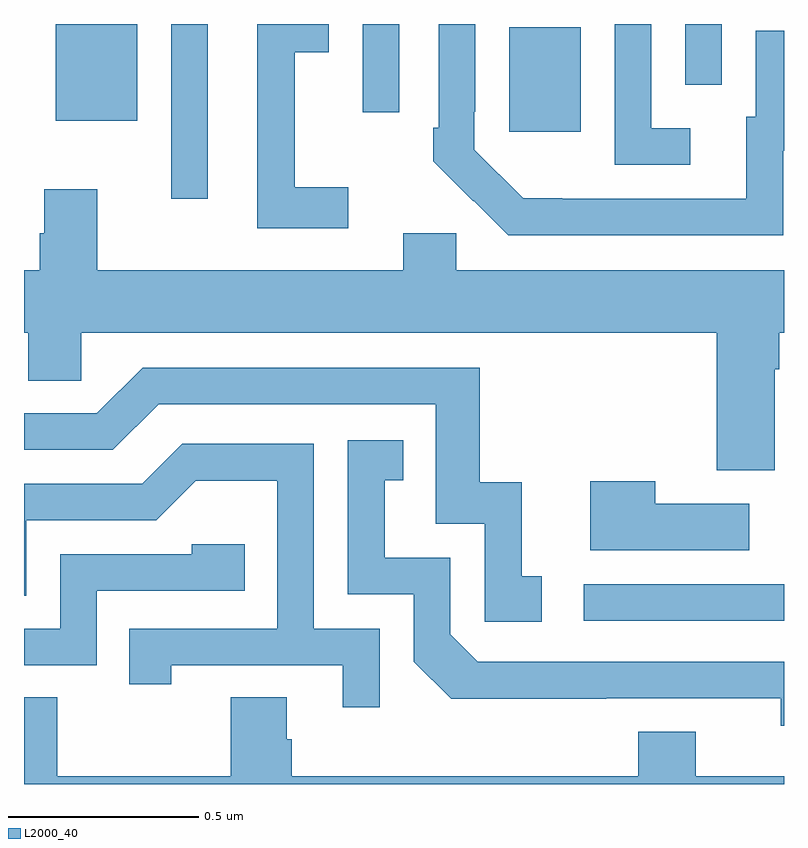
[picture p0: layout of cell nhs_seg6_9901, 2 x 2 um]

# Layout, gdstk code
import gdstk
lib = gdstk.Library(unit=1e-6, precision=1e-09)
def R(c, l, rs):  # rectangles x0, y0, x1, y1
    for r in rs: c.add(gdstk.rectangle(r[:2], r[2:], *l))
def P(c, l, *ps):  # polygons
    for p in ps: c.add(gdstk.Polygon(p, *l))
L2000_40 = (2000, 40)

nhs_seg6_9901 = lib.new_cell('nhs_seg6_9901')
R(nhs_seg6_9901, L2000_40, [(241.473,927.93,242,928.026), (240.387,929.04,240.484,929.5), (241.277,929.217,241.465,929.491), (240.083,929.246,240.298,929.5), (240.891,929.268,240.987,929.5), (241.74,929.34,241.836,929.5)])
P(nhs_seg6_9901, L2000_40, [(241.998,929.166),(242,929.166),(242,929.482),(241.925,929.482),(241.925,929.256),(241.901,929.256),(241.901,929.04),(241.417,929.04),(241.417,929.041),(241.314,929.041),(241.185,929.169),(241.185,929.269),(241.188,929.269),(241.188,929.5),(241.092,929.5),(241.092,929.227),(241.077,929.227),(241.077,929.139),(241.182,929.034),(241.183,929.035),(241.274,928.944),(241.998,928.944)],
  [(241.753,929.226),(241.65,929.226),(241.65,929.5),(241.554,929.5),(241.554,929.13),(241.753,929.13)],
  [(240.853,929.071),(240.713,929.071),(240.713,929.426),(240.802,929.426),(240.802,929.5),(240.614,929.5),(240.614,928.962),(240.853,928.962)],
  [(241.975,928.592),(241.988,928.592),(241.988,928.688),(242,928.688),(242,928.852),(241.137,928.852),(241.137,928.95),(240.998,928.95),(240.998,928.852),(240.193,928.852),(240.193,929.065),(240.053,929.065),(240.053,928.95),(240.041,928.95),(240.041,928.852),(240,928.852),(240,928.688),(240.011,928.688),(240.011,928.561),(240.15,928.561),(240.15,928.688),(241.823,928.688),(241.823,928.326),(241.975,928.326)],
  [(241.363,928.047),(241.31,928.047),(241.31,928.294),(241.199,928.294),(241.199,928.596),(240.312,928.596),(240.192,928.476),(240,928.476),(240,928.38),(240.234,928.38),(240.354,928.5),(241.083,928.5),(241.083,928.185),(241.212,928.185),(241.212,927.927),(241.363,927.927)],
  [(242,927.822),(241.194,927.822),(241.122,927.894),(241.122,928.095),(240.949,928.095),(240.949,928.299),(240.998,928.299),(240.998,928.405),(240.852,928.405),(240.852,927.999),(241.026,927.999),(241.026,927.822),(241.124,927.725),(241.532,927.725),(241.532,927.726),(241.992,927.726),(241.992,927.653),(242,927.653)],
  [(240.936,927.909),(240.762,927.909),(240.762,928.395),(240.416,928.395),(240.311,928.29),(240,928.29),(240,927.996),(240.006,927.996),(240.006,928.194),(240.348,928.194),(240.452,928.298),(240.666,928.298),(240.666,927.909),(240.277,927.909),(240.277,927.762),(240.388,927.762),(240.388,927.813),(240.839,927.813),(240.839,927.702),(240.936,927.702)],
  [(241.909,928.237),(241.661,928.237),(241.661,928.297),(241.49,928.297),(241.49,928.115),(241.909,928.115)],
  [(240.192,928.008),(240.581,928.008),(240.581,928.131),(240.441,928.131),(240.441,928.104),(240.096,928.104),(240.096,927.909),(240,927.909),(240,927.813),(240.192,927.813)],
  [(242,927.52),(241.768,927.52),(241.768,927.637),(241.616,927.637),(241.616,927.52),(240.704,927.52),(240.704,927.618),(240.691,927.618),(240.691,927.728),(240.544,927.728),(240.544,927.52),(240.087,927.52),(240.087,927.728),(240,927.728),(240,927.5),(242,927.5)])

lib.write_gds('nhs_seg6_9901.gds')
